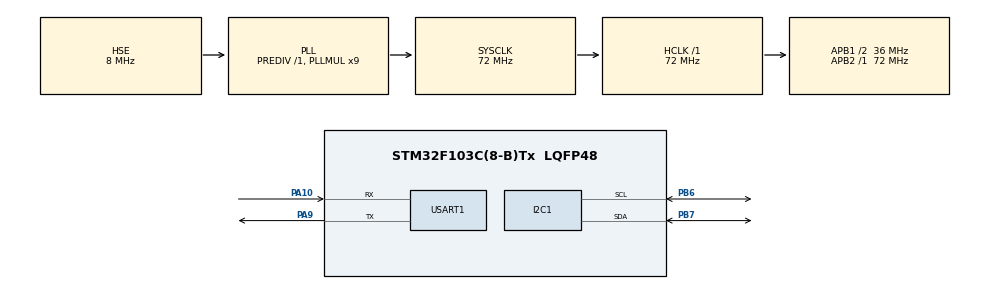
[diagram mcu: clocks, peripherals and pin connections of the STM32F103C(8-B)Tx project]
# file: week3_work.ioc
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Mcu.Family=STM32F1
Mcu.Name=STM32F103C(8-B)Tx
Mcu.Package=LQFP48
NVIC.PriorityGroup=NVIC_PRIORITYGROUP_4
NVIC.TIM2_IRQn=true\:0\:0\:false\:false\:true\:true\:true\:true
NVIC.USART1_IRQn=true\:0\:0\:false\:false\:true\:true\:true\:true
PA10.Mode=Asynchronous
PA10.Signal=USART1_RX
PA13.Mode=Serial_Wire
PA13.Signal=SYS_JTMS-SWDIO
PA14.Mode=Serial_Wire
PA14.Signal=SYS_JTCK-SWCLK
PA9.Mode=Asynchronous
PA9.Signal=USART1_TX
PB6.Mode=I2C
PB6.Signal=I2C1_SCL
PB7.Mode=I2C
PB7.Signal=I2C1_SDA
PD0-OSC_IN.Mode=HSE-External-Oscillator
PD0-OSC_IN.Signal=RCC_OSC_IN
PD1-OSC_OUT.Mode=HSE-External-Oscillator
PD1-OSC_OUT.Signal=RCC_OSC_OUT
ProjectManager.HeapSize=0x200
ProjectManager.StackSize=0x400
ProjectManager.TargetToolchain=Makefile
RCC.AHBFreq_Value=72000000
RCC.APB1CLKDivider=RCC_HCLK_DIV2
RCC.APB1Freq_Value=36000000
RCC.APB1TimFreq_Value=72000000
RCC.APB2Freq_Value=72000000
RCC.APB2TimFreq_Value=72000000
RCC.HCLKFreq_Value=72000000
RCC.PLLMUL=RCC_PLL_MUL9
RCC.PLLSourceVirtual=RCC_PLLSOURCE_HSE
RCC.SYSCLKFreq_VALUE=72000000
RCC.SYSCLKSource=RCC_SYSCLKSOURCE_PLLCLK
RCC.USBFreq_Value=72000000
TIM2.AutoReloadPreload=TIM_AUTORELOAD_PRELOAD_DISABLE
TIM2.Period=99
TIM2.Prescaler=7199
USART1.VirtualMode=VM_ASYNC
VP_TIM2_VS_ClockSourceINT.Mode=Internal
board=custom

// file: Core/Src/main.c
/* USER CODE BEGIN Header */
/**
  ******************************************************************************
  * @file           : main.c
  * @brief          : Main program body
  ******************************************************************************
  * @attention
  *
  * Copyright (c) 2026 STMicroelectronics.
  * All rights reserved.
  *
  * This software is licensed under terms that can be found in the LICENSE file
  * in the root directory of this software component.
  * If no LICENSE file comes with this software, it is provided AS-IS.
  *
  ******************************************************************************
  */
/* USER CODE END Header */
#include "main.h"
#include "i2c.h"
#include "tim.h"
#include "usart.h"
#include "gpio.h"

/* USER CODE BEGIN Includes */
#include "math.h"
#include "OLED.h"
#include <string.h>
#include <stdio.h>
/* USER CODE END Includes */

/* USER CODE BEGIN PV */
float data=0.0;
volatile  float t=0.0;
uint8_t input_num= '1';
uint8_t data_num = 1;
uint8_t update_flag = 0;
uint8_t yeji = 0;
/* USER CODE END PV */

void SystemClock_Config(void);

/* USER CODE BEGIN 0 */
void Vofa_Justfloat(float *_data,uint8_t _num)
{
  static uint8_t tempData[100];
  uint8_t temp_end[4]={0x00,0x00,0x80,0x7F};
  memcpy(tempData,(uint8_t*)_data,_num*sizeof(float));
  memcpy(&tempData[_num*sizeof(float)],temp_end,4);
  HAL_UART_Transmit_IT(&huart1,tempData,(_num+1)*4);
}
/* USER CODE END 0 */

int main(void)
{

  /* MCU Configuration--------------------------------------------------------*/

  /* Reset of all peripherals, Initializes the Flash interface and the Systick. */
  HAL_Init();

  /* Configure the system clock */
  SystemClock_Config();

  /* Initialize all configured peripherals */
  MX_GPIO_Init();
  MX_I2C1_Init();
  MX_USART1_UART_Init();
  MX_TIM2_Init();
  /* USER CODE BEGIN 2 */
HAL_TIM_Base_Start_IT(&htim2);
OLED_init();
OLED_display_on();
OLED_operate_gram(PEN_CLEAR);
    data=2.0f*sin(M_PI*t);
    Vofa_Justfloat(&data,1);
    HAL_Delay(10);
    OLED_show_string(1,1,(uint8_t *)"Sine");
OLED_refresh_gram();
  /* USER CODE END 2 */

  /* Infinite loop */
  /* USER CODE BEGIN WHILE */
  HAL_UART_Receive_IT(&huart1,&input_num,1);
  while (1)
  {
    if(update_flag == 1){
      update_flag = 0;
      if(data_num == 1){
        data=2.0f*sin(2.0*M_PI*t);
      }
      else if(data_num == 2){
        data = 2.0f*fmodf(t,0.05f)/0.05f-1.0f;
      }
      else if(data_num == 3){
        if(fmodf(t,0.15f)<0.075)
        data = 0.5f;
        else
        data = -0.5f;
      }
      Vofa_Justfloat(&data,1);
      if(yeji == 1){
        yeji = 0;
        OLED_operate_gram(PEN_CLEAR);
        if(data_num == 1){
        OLED_show_string(1,1,(uint8_t *)"Sine");
        }
        else if(data_num == 2){
        OLED_show_string(1,1,(uint8_t *)"Sawtooth");
        }
        else if(data_num == 3){
        OLED_show_string(1,1,(uint8_t *)"Square");
        }
        OLED_refresh_gram();
      }
    }
    /* USER CODE END WHILE */

  }
}

void SystemClock_Config(void)
{
  RCC_OscInitTypeDef RCC_OscInitStruct = {0};
  RCC_ClkInitTypeDef RCC_ClkInitStruct = {0};

  /** Initializes the RCC Oscillators according to the specified parameters
  * in the RCC_OscInitTypeDef structure.
  */
  RCC_OscInitStruct.OscillatorType = RCC_OSCILLATORTYPE_HSE;
  RCC_OscInitStruct.HSEState = RCC_HSE_ON;
  RCC_OscInitStruct.HSEPredivValue = RCC_HSE_PREDIV_DIV1;
  RCC_OscInitStruct.HSIState = RCC_HSI_ON;
  RCC_OscInitStruct.PLL.PLLState = RCC_PLL_ON;
  RCC_OscInitStruct.PLL.PLLSource = RCC_PLLSOURCE_HSE;
  RCC_OscInitStruct.PLL.PLLMUL = RCC_PLL_MUL9;
  if (HAL_RCC_OscConfig(&RCC_OscInitStruct) != HAL_OK)
  {
    Error_Handler();
  }

  /** Initializes the CPU, AHB and APB buses clocks
  */
  RCC_ClkInitStruct.ClockType = RCC_CLOCKTYPE_HCLK|RCC_CLOCKTYPE_SYSCLK
                              |RCC_CLOCKTYPE_PCLK1|RCC_CLOCKTYPE_PCLK2;
  RCC_ClkInitStruct.SYSCLKSource = RCC_SYSCLKSOURCE_PLLCLK;
  RCC_ClkInitStruct.AHBCLKDivider = RCC_SYSCLK_DIV1;
  RCC_ClkInitStruct.APB1CLKDivider = RCC_HCLK_DIV2;
  RCC_ClkInitStruct.APB2CLKDivider = RCC_HCLK_DIV1;

  if (HAL_RCC_ClockConfig(&RCC_ClkInitStruct, FLASH_LATENCY_2) != HAL_OK)
  {
    Error_Handler();
  }
}

/* USER CODE BEGIN 4 */
void HAL_TIM_PeriodElapsedCallback(TIM_HandleTypeDef *htim)
{
  if(htim->Instance == TIM2){
    t+=0.001f;
    if(t>10){
      t = 0.0;
    }
    update_flag = 1;
  }
}
void HAL_UART_RxCpltCallback(UART_HandleTypeDef*huart)
{
  if(huart->Instance == USART1){

      if(input_num == '1'){
        data_num = 1;
      }
      else if (input_num == '2'){
        data_num = 2;
        }
      else if(input_num == '3'){
        data_num = 3;
        }
        yeji = 1;

        HAL_UART_Receive_IT(&huart1,&input_num,1);
  }
}
/* USER CODE END 4 */

void Error_Handler(void)
{
  __disable_irq();
  while (1)
  {
  }
}
